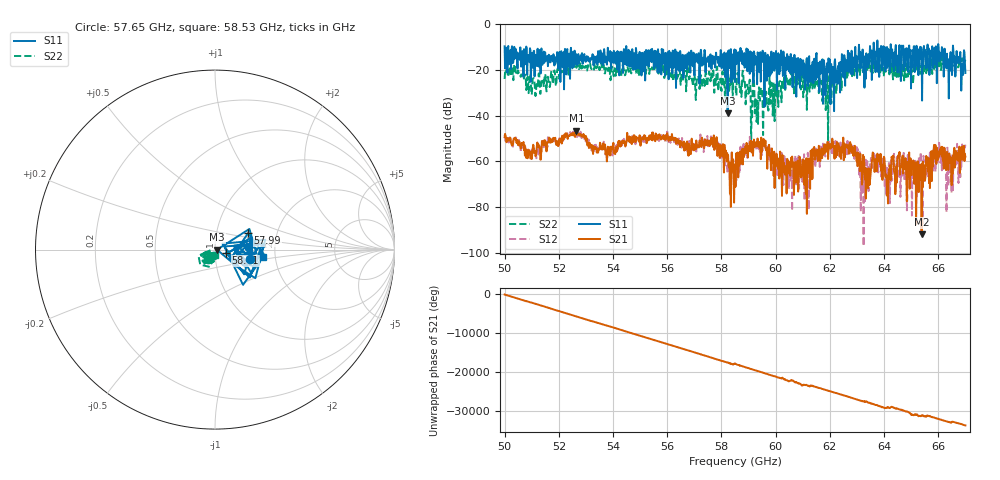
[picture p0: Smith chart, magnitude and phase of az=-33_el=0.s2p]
!Created with skrf (http://scikit-rf.org).
# GHz S RI R 50.0
!freq ReS11 ImS11 ReS21 ImS21 ReS12 ImS12 ReS22 ImS22
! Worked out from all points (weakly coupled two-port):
!   1001 points, 50 GHz to 67 GHz, reference 50 ohm
!   highest |S21| = -46.60 dB at 52.65 GHz (marker M1); lowest = -91.9 dB at 65.39 GHz (marker M2)
!   lowest |S11| = -39.0 dB at 58.23 GHz (marker M3), VSWR 1.02, Z = 51.1 - j0.0604 ohm
!   |S11| at or under -10 dB: 50.8 GHz to 54.49 GHz (3.684 GHz wide, 7 % of centre); 54.49 GHz to 62.94 GHz (8.447 GHz wide, 14.4 % of centre); 66.55 GHz to end of sweep (the widest 3 of 31)
!   |S22| runs from -54.2 to -13.8 dB; largest |S21 - S12| = 0.0022
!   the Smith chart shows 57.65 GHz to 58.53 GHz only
!   S11 on the Smith chart (normalised r, x): 57.65 GHz: 1.48, -0.16; 57.99 GHz: 1.42, +0.27; 58.41 GHz: 1.13, -0.04; 58.53 GHz: 1.72, -0.15
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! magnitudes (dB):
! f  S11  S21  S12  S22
! 50 GHz  -9.7  -49.5  -48.4  -23.9
! 50.94 GHz  -10.5  -56.8  -56.9  -21.6
! 52.65 GHz  -17.8  -46.6  -47.1  -19.1
! 52.84 GHz  -13.3  -49.1  -49.9  -19.4
! 53.81 GHz  -10.3  -53.6  -55.3  -20.5
! 55.68 GHz  -13.7  -48.4  -48.1  -21.6
! 57.65 GHz  -13.9  -49.9  -52.0  -23.3
! 57.99 GHz  -13.7  -56.1  -53.3  -28.9
! 58.23 GHz  -39.0  -59.3  -65.4  -22.9
! 58.41 GHz  -23.9  -62.2  -59.7  -32.4
! 58.5 GHz  -25.3  -61.5  -61.5  -25.1
! 58.53 GHz  -11.3  -60.4  -66.0  -30.1
! 59.28 GHz  -14.6  -51.6  -55.0  -35.3
! 60.57 GHz  -17.7  -58.4  -61.2  -20.9
! 61.34 GHz  -25.3  -54.9  -56.9  -25.6
! 62.66 GHz  -11.6  -53.5  -52.5  -21.2
! 63.02 GHz  -15.3  -62.2  -54.6  -20.6
! 63.21 GHz  -11.1  -61.4  -69.6  -19.2
! 63.6 GHz  -13.1  -57.7  -60.1  -18.2
! 64.18 GHz  -17.9  -63.6  -60.8  -18.6
! 65.39 GHz  -11.0  -91.9  -67.4  -19.8
! 67 GHz  -21.4  -58.1  -52.8  -15.5
